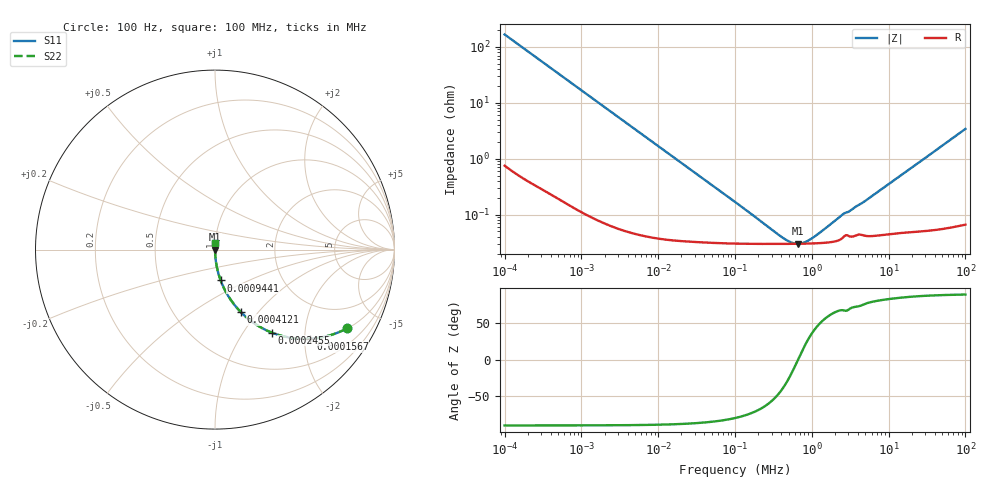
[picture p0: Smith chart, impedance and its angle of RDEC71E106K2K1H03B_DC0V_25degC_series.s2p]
!Murata Part Number: RDEC71E106K2K1H03B
!These Parameters are Measured in Series Mode Connection
!  o--ll--o
!Port1  Port2
!  o------o
!Operation Temp=25[degC], DC Bias Voltage=0[V]
!Freq. Start=100[Hz] Stop=100[MHz], 401[Steps]
!Data Generated on Dec 23, 2019
# Hz S RI R 50
!Freq.(Hz) S11(Real) S11(Imag) S21(Real) S21(Imag) S12(Real) S12(Imag) S22(Real) S22(Imag)
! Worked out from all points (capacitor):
!   401 points, 100 Hz to 100 MHz, reference 50 ohm
!   read as one part in series: C = 9.54 uF near 107.2 Hz
!   lowest |Z| = 30.1 mohm at 668.3 kHz (marker M1)
!   series resonance near 661.5 kHz, so ESL is about 6.1 nH
!   S11 on the Smith chart (normalised r, x): 100 Hz: 1.01, -3.33; 156.7 Hz: 1.01, -2.13; 245.5 Hz: 1.01, -1.36; 412.1 Hz: 1.00, -0.81; 944.1 Hz: 1.00, -0.36; 100 MHz: 1.00, +0.07
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100  0.7343 -0.4395  0.2657 0.4395  0.2657 0.4395  0.7343 -0.4395
114.8154  0.6775 -0.4652  0.3225 0.4652  0.3225 0.4652  0.6775 -0.4652
156.6751  0.5312 -0.4967  0.4688 0.4967  0.4688 0.4967  0.5312 -0.4967
192.7525  0.4289 -0.4926  0.5711 0.4926  0.5711 0.4926  0.4289 -0.4926
245.4709  0.3173 -0.463  0.6827 0.463  0.6827 0.463  0.3173 -0.463
323.5937  0.2119 -0.406  0.7881 0.406  0.7881 0.406  0.2119 -0.406
412.0975  0.1429 -0.3472  0.8571 0.3472  0.8571 0.3472  0.1429 -0.3472
602.5596  0.073 -0.2573  0.927 0.2573  0.927 0.2573  0.073 -0.2573
944.0609  0.0317 -0.1719  0.9683 0.1719  0.9683 0.1719  0.0317 -0.1719
1011.579  0.0278 -0.1611  0.9722 0.1611  0.9722 0.1611  0.0278 -0.1611
2660.725  0.00457 -0.0629  0.9954 0.0629  0.9954 0.0629  0.00457 -0.0629
10232.93  0.000643 -0.0165  0.9994 0.0165  0.9994 0.0165  0.000643 -0.0165
100000  0.000306 -0.00166  0.9997 0.00166  0.9997 0.00166  0.000306 -0.00166
426579.5  0.0003 -0.000233  0.9997 0.000233  0.9997 0.000233  0.0003 -0.000233
543250.3  0.0003 -0.000102  0.9997 0.000102  0.9997 0.000102  0.0003 -0.000102
668343.9  0.000301 5.39e-06  0.9997 -5.39e-06  0.9997 -5.39e-06  0.000301 5.39e-06
794328.2  0.000302 9.49e-05  0.9997 -9.49e-05  0.9997 -9.49e-05  0.000302 9.49e-05
1011579  0.000305 0.000226  0.9997 -0.000226  0.9997 -0.000226  0.000305 0.000226
2483133  0.000379 0.000915  0.9996 -0.000915  0.9996 -0.000915  0.000379 0.000915
4786301  0.000425 0.00165  0.9996 -0.00165  0.9996 -0.00165  0.000425 0.00165
1.023293e7  0.00046 0.00355  0.9995 -0.00355  0.9995 -0.00355  0.00046 0.00355
1e8  0.00182 0.0341  0.9982 -0.0341  0.9982 -0.0341  0.00182 0.0341
